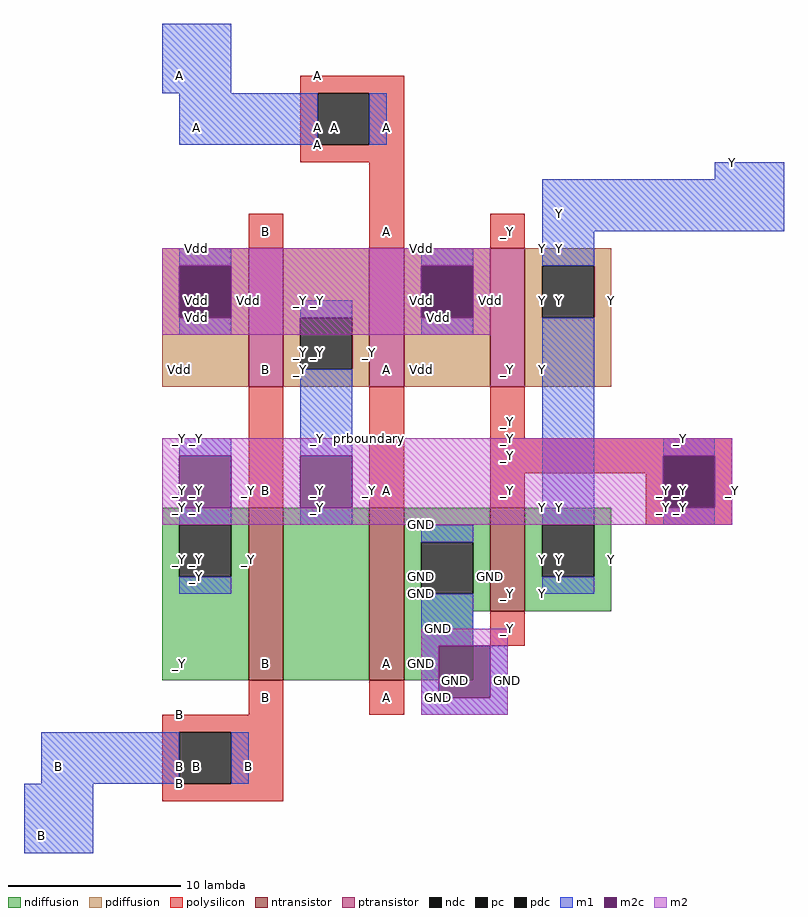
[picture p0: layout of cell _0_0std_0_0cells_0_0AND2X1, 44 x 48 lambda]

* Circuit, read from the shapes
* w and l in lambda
.subckt _0_0std_0_0cells_0_0AND2X1 Y A B
M1 n1 B _Y VSUBS nfet w=10 l=2
M2 GND A n1 VSUBS nfet w=10 l=2
M3 Y _Y GND VSUBS nfet w=6 l=2
M4 _Y B Vdd NWELL pfet w=8 l=2
M5 Vdd A _Y NWELL pfet w=8 l=2
M6 Y _Y Vdd NWELL pfet w=8 l=2
.ends

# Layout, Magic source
magic
tech sky130l
<< ndiffusion >>
rect 16 23 21 24
rect 16 20 17 23
rect 20 20 21 23
rect 16 14 21 20
rect 23 14 28 24
rect 30 22 35 24
rect 30 19 31 22
rect 34 19 35 22
rect 30 18 35 19
rect 37 23 42 24
rect 37 20 38 23
rect 41 20 42 23
rect 37 18 42 20
rect 30 14 34 18
<< ndc >>
rect 17 20 20 23
rect 31 19 34 22
rect 38 20 41 23
<< ntransistor >>
rect 21 14 23 24
rect 28 14 30 24
rect 35 18 37 24
<< pdiffusion >>
rect 16 38 21 39
rect 16 35 17 38
rect 20 35 21 38
rect 16 31 21 35
rect 23 35 28 39
rect 23 32 24 35
rect 27 32 28 35
rect 23 31 28 32
rect 30 38 35 39
rect 30 35 31 38
rect 34 35 35 38
rect 30 31 35 35
rect 37 38 42 39
rect 37 35 38 38
rect 41 35 42 38
rect 37 31 42 35
<< pdc >>
rect 17 35 20 38
rect 24 32 27 35
rect 31 35 34 38
rect 38 35 41 38
<< ptransistor >>
rect 21 31 23 39
rect 28 31 30 39
rect 35 31 37 39
<< polysilicon >>
rect 24 48 30 49
rect 24 45 25 48
rect 28 45 30 48
rect 24 44 30 45
rect 21 39 23 41
rect 28 39 30 44
rect 35 39 37 41
rect 21 24 23 31
rect 28 24 30 31
rect 35 28 37 31
rect 35 27 49 28
rect 35 26 45 27
rect 35 24 37 26
rect 44 24 45 26
rect 48 24 49 27
rect 44 23 49 24
rect 35 16 37 18
rect 21 12 23 14
rect 28 12 30 14
rect 16 11 23 12
rect 16 8 17 11
rect 20 8 23 11
rect 16 7 23 8
<< pc >>
rect 25 45 28 48
rect 45 24 48 27
rect 17 8 20 11
<< m1 >>
rect 16 48 20 52
rect 17 45 25 48
rect 28 45 29 48
rect 48 43 52 44
rect 38 40 52 43
rect 17 38 20 39
rect 31 38 34 39
rect 17 34 20 35
rect 24 35 27 36
rect 31 34 34 35
rect 38 38 41 40
rect 17 27 20 28
rect 17 23 20 24
rect 24 27 27 32
rect 24 23 27 24
rect 38 23 41 35
rect 45 27 48 28
rect 45 23 48 24
rect 17 19 20 20
rect 31 22 34 23
rect 38 19 41 20
rect 31 16 34 19
rect 31 13 32 16
rect 35 13 36 16
rect 31 12 36 13
rect 9 8 17 11
rect 20 8 21 11
rect 8 4 12 8
<< m2c >>
rect 17 35 20 38
rect 31 35 34 38
rect 17 24 20 27
rect 24 24 27 27
rect 45 24 48 27
rect 32 13 35 16
<< m2 >>
rect 16 38 35 39
rect 16 35 17 38
rect 20 35 31 38
rect 34 35 35 38
rect 16 34 35 35
rect 16 27 49 28
rect 16 24 17 27
rect 20 24 24 27
rect 27 24 45 27
rect 48 24 49 27
rect 16 23 49 24
rect 31 16 36 17
rect 31 13 32 16
rect 35 13 36 16
rect 31 12 36 13
<< labels >>
rlabel space 0 0 56 56 6 prboundary
rlabel ndiffusion 42 21 42 21 3 Y
rlabel polysilicon 45 24 45 24 3 _Y
rlabel polysilicon 45 25 45 25 3 _Y
rlabel pdiffusion 42 36 42 36 3 Y
rlabel polysilicon 36 17 36 17 3 _Y
rlabel ndiffusion 38 19 38 19 3 Y
rlabel ndiffusion 38 21 38 21 3 Y
rlabel ndiffusion 38 24 38 24 3 Y
rlabel ndiffusion 35 20 35 20 3 GND
rlabel pdiffusion 38 32 38 32 3 Y
rlabel pdiffusion 38 36 38 36 3 Y
rlabel pdiffusion 38 39 38 39 3 Y
rlabel polysilicon 36 40 36 40 3 _Y
rlabel ntransistor 36 19 36 19 3 _Y
rlabel polysilicon 36 25 36 25 3 _Y
rlabel polysilicon 36 27 36 27 3 _Y
rlabel polysilicon 36 28 36 28 3 _Y
rlabel polysilicon 36 29 36 29 3 _Y
rlabel ptransistor 36 32 36 32 3 _Y
rlabel ndiffusion 31 15 31 15 3 GND
rlabel ndiffusion 31 19 31 19 3 GND
rlabel ndiffusion 31 20 31 20 3 GND
rlabel ndiffusion 31 23 31 23 3 GND
rlabel pdiffusion 31 32 31 32 3 Vdd
rlabel pdiffusion 31 36 31 36 3 Vdd
rlabel pdiffusion 31 39 31 39 3 Vdd
rlabel pdiffusion 28 33 28 33 3 _Y
rlabel polysilicon 29 40 29 40 3 A
rlabel polysilicon 29 13 29 13 3 A
rlabel ntransistor 29 15 29 15 3 A
rlabel polysilicon 29 25 29 25 3 A
rlabel ptransistor 29 32 29 32 3 A
rlabel polysilicon 25 45 25 45 3 A
rlabel polysilicon 25 46 25 46 3 A
rlabel polysilicon 25 49 25 49 3 A
rlabel ndiffusion 21 21 21 21 3 _Y
rlabel pdiffusion 24 32 24 32 3 _Y
rlabel pdiffusion 24 33 24 33 3 _Y
rlabel pdiffusion 24 36 24 36 3 _Y
rlabel polysilicon 22 13 22 13 3 B
rlabel ntransistor 22 15 22 15 3 B
rlabel polysilicon 22 25 22 25 3 B
rlabel ptransistor 22 32 22 32 3 B
rlabel polysilicon 22 40 22 40 3 B
rlabel polysilicon 17 8 17 8 3 B
rlabel polysilicon 17 9 17 9 3 B
rlabel polysilicon 17 12 17 12 3 B
rlabel ndiffusion 17 15 17 15 3 _Y
rlabel ndiffusion 17 21 17 21 3 _Y
rlabel pdiffusion 17 32 17 32 3 Vdd
rlabel m1 49 44 49 44 3 Y
port 1 e
rlabel m1 46 24 46 24 3 _Y
rlabel m1 46 28 46 28 3 _Y
rlabel m1 39 20 39 20 3 Y
port 1 e
rlabel ndc 39 21 39 21 3 Y
port 1 e
rlabel m1 39 24 39 24 3 Y
port 1 e
rlabel pdc 39 36 39 36 3 Y
port 1 e
rlabel m1 39 39 39 39 3 Y
port 1 e
rlabel m1 39 41 39 41 3 Y
port 1 e
rlabel m1 32 35 32 35 3 Vdd
rlabel m1 32 39 32 39 3 Vdd
rlabel m1 32 23 32 23 3 GND
rlabel ndc 32 20 32 20 3 GND
rlabel m1 25 24 25 24 3 _Y
rlabel m1 25 28 25 28 3 _Y
rlabel pdc 25 33 25 33 3 _Y
rlabel m1 25 36 25 36 3 _Y
rlabel m1 29 46 29 46 3 A
port 2 e
rlabel pc 26 46 26 46 3 A
port 2 e
rlabel m1 21 9 21 9 3 B
port 3 e
rlabel m1 18 20 18 20 3 _Y
rlabel ndc 18 21 18 21 3 _Y
rlabel m1 18 24 18 24 3 _Y
rlabel m1 18 28 18 28 3 _Y
rlabel m1 18 35 18 35 3 Vdd
rlabel m1 18 39 18 39 3 Vdd
rlabel m1 18 46 18 46 3 A
port 2 e
rlabel pc 18 9 18 9 3 B
port 3 e
rlabel m1 17 49 17 49 3 A
port 2 e
rlabel m1 10 9 10 9 3 B
port 3 e
rlabel m1 9 5 9 5 3 B
port 3 e
rlabel m2 49 25 49 25 3 _Y
rlabel m2c 46 25 46 25 3 _Y
rlabel m2 36 14 36 14 3 GND
rlabel m2 28 25 28 25 3 _Y
rlabel m2 35 36 35 36 3 Vdd
rlabel m2c 33 14 33 14 3 GND
rlabel m2c 25 25 25 25 3 _Y
rlabel m2c 32 36 32 36 3 Vdd
rlabel m2 32 13 32 13 3 GND
rlabel m2 32 14 32 14 3 GND
rlabel m2 32 17 32 17 3 GND
rlabel m2 21 25 21 25 3 _Y
rlabel m2 21 36 21 36 3 Vdd
rlabel m2c 18 25 18 25 3 _Y
rlabel m2c 18 36 18 36 3 Vdd
rlabel m2 17 24 17 24 3 _Y
rlabel m2 17 25 17 25 3 _Y
rlabel m2 17 28 17 28 3 _Y
rlabel m2 17 35 17 35 3 Vdd
rlabel m2 17 36 17 36 3 Vdd
rlabel m2 17 39 17 39 3 Vdd
<< end >>
